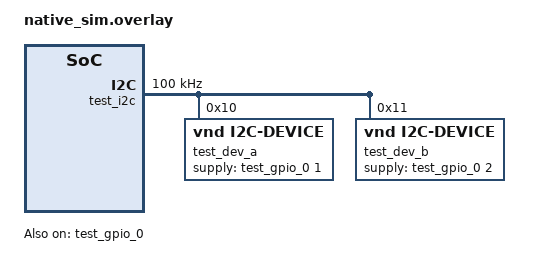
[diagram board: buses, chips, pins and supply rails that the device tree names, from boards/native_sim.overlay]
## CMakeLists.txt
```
# SPDX-License-Identifier: Apache-2.0

cmake_minimum_required(VERSION 3.20.0)
find_package(Zephyr REQUIRED HINTS $ENV{ZEPHYR_BASE})

set(output_file ${PROJECT_BINARY_DIR}/check_init_priorities_output.txt)

add_custom_command(
	COMMENT "Running check_init_priorities.py"
	OUTPUT ${output_file}
	DEPENDS
	  ${logical_target_for_zephyr_elf}
	  $<$<TARGET_EXISTS:native_runner_executable>:native_runner_executable>
	COMMAND ${PYTHON_EXECUTABLE} ${ZEPHYR_BASE}/scripts/build/check_init_priorities.py
	  --elf-file=$<IF:$<TARGET_EXISTS:native_runner_executable>,${BYPRODUCT_KERNEL_EXE_NAME},${BYPRODUCT_KERNEL_ELF_NAME}>
	  --verbose
	  --output ${output_file}
	  --always-succeed
	COMMAND ${PYTHON_EXECUTABLE} ${APPLICATION_SOURCE_DIR}/validate_check_init_priorities_output.py
	  ${output_file}
)

add_custom_target(check_init_priorities_output ALL DEPENDS ${output_file})

project(check_init_priorities)

target_sources(app PRIVATE src/main.c)
```

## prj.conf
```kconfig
CONFIG_CHECK_INIT_PRIORITIES=n
```

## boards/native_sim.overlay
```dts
/*
 * Copyright 2023 Google LLC
 *
 * SPDX-License-Identifier: Apache-2.0
 */

/ {
	test_gpio_0: gpio@ffff {
		gpio-controller;
		#gpio-cells = <0x2>;
		compatible = "vnd,gpio-device";
		status = "okay";
		reg = <0xffff 0x1000>;
	};

	test_i2c: i2c@11112222 {
		#address-cells = <1>;
		#size-cells = <0>;
		compatible = "vnd,i2c";
		status = "okay";
		reg = <0x11112222 0x1000>;
		clock-frequency = <100000>;

		test_dev_a: test-i2c-dev@10 {
			compatible = "vnd,i2c-device";
			status = "okay";
			reg = <0x10>;
			supply-gpios = <&test_gpio_0 1 0>;
		};

		test_dev_b: test-i2c-dev@11 {
			compatible = "vnd,i2c-device";
			status = "okay";
			reg = <0x11>;
			supply-gpios = <&test_gpio_0 2 0>;
		};
	};
};
```

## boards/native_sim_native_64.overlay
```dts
/*
 * Copyright 2023 Google LLC
 *
 * SPDX-License-Identifier: Apache-2.0
 */

#include "native_sim.overlay"
```

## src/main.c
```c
/*
 * Copyright 2023 Google LLC
 *
 * SPDX-License-Identifier: Apache-2.0
 */

#include <zephyr/device.h>

DEVICE_DT_DEFINE(DT_INST(0, vnd_gpio_device), NULL, NULL, NULL, NULL,
		 PRE_KERNEL_1, 50, NULL);
DEVICE_DT_DEFINE(DT_INST(0, vnd_i2c), NULL, NULL, NULL, NULL,
		 PRE_KERNEL_1, 50, NULL);

DEVICE_DT_DEFINE(DT_INST(0, vnd_i2c_device), NULL, NULL, NULL, NULL,
		 PRE_KERNEL_1, 49, NULL);
DEVICE_DT_DEFINE(DT_INST(1, vnd_i2c_device), NULL, NULL, NULL, NULL,
		 PRE_KERNEL_1, 50, NULL);
```
